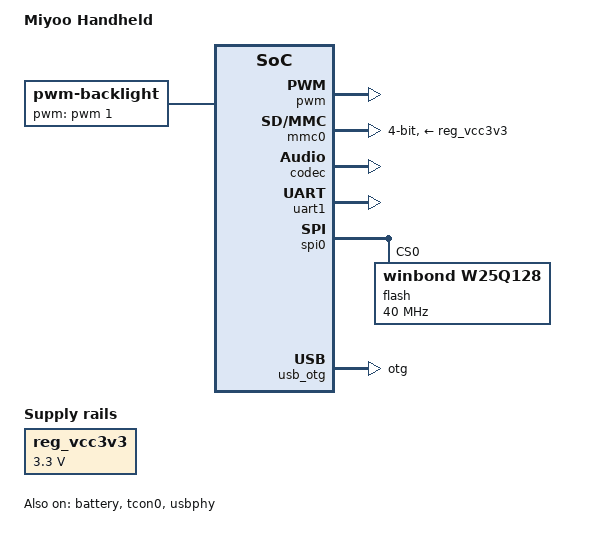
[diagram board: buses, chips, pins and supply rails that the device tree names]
// SPDX-License-Identifier: (GPL-2.0+ OR X11)
/*
 * Copyright 2018 Icenowy Zheng <icenowy@aosc.io>
 * Copyright 2018 Steward Fu <steward.fu@gmail.com>
 */

/dts-v1/;
#include "suniv.dtsi"
#include <dt-bindings/gpio/gpio.h>

/ {
	model = "Miyoo Handheld";
	compatible = "allwinner,suniv-f1c500s";

	aliases {
		serial1 = &uart1;
	};

	chosen {
		stdout-path = "serial1:115200n8";
	};
	
  backlight {
		compatible = "pwm-backlight";
		pwms = <&pwm 1 1000000 0>;
		brightness-levels = <0 10 20 30 40 50 60 70 80 90 100>;
		default-brightness-level = <5>;
		status = "okay";
	};

	reg_vcc3v3: vcc3v3 {
		compatible = "regulator-fixed";
		regulator-name = "vcc3v3";
		regulator-min-microvolt = <3300000>;
		regulator-max-microvolt = <3300000>;
	};
};

&pwm {
	pinctrl-names = "default";
	pinctrl-0 = <&pwm1_pins_a>;
	status = "okay";
};

&battery {
  status = "okay";
};

&tcon0 {
  status = "okay";
};

&mmc0 {
	vmmc-supply = <&reg_vcc3v3>;
	bus-width = <4>;
	broken-cd;
	status = "okay";
};

&codec {
	status = "okay";
};

&uart1 {
	pinctrl-names = "default";
	pinctrl-0 = <&uart1_pins_a>;
	status = "okay";
};

&spi0 {
	pinctrl-names = "default";
	pinctrl-0 = <&spi0_pins_a>;
	status = "okay";

	flash@0 {
		#address-cells = <1>;
		#size-cells = <1>;
		compatible = "winbond,w25q128", "jedec,spi-nor";
		reg = <0>;
		spi-max-frequency = <40000000>;
	};
};

&otg_sram {
	status = "okay";
};

&usb_otg {
	dr_mode = "otg";
	status = "okay";
};

&usbphy {
	usb0_id_det-gpio = <&pio 4 2 GPIO_ACTIVE_HIGH>;
	status = "okay";
};

